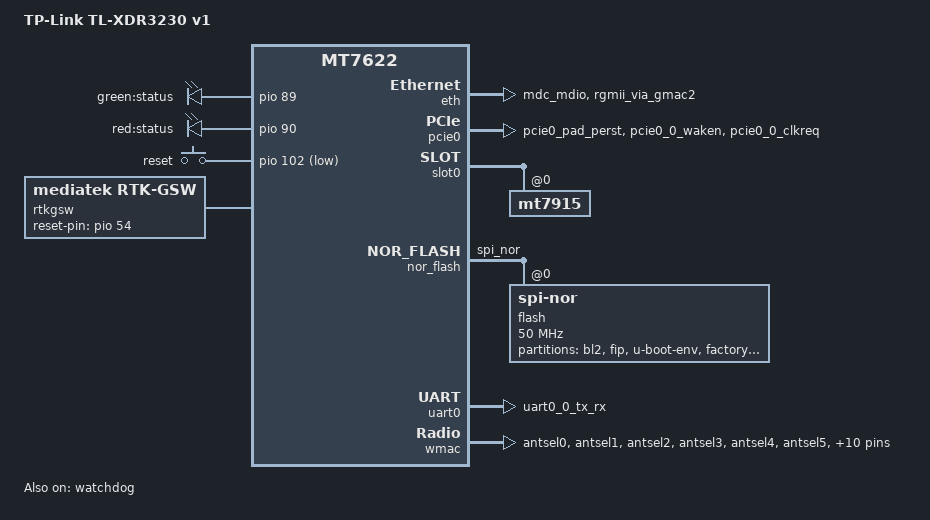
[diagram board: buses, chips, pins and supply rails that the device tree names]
// SPDX-License-Identifier: GPL-2.0-or-later OR MIT

/dts-v1/;
#include <dt-bindings/input/input.h>
#include <dt-bindings/gpio/gpio.h>

#include "mt7622.dtsi"
#include "mt6380.dtsi"

/ {
	model = "TP-Link TL-XDR3230 v1";
	compatible = "tplink,tl-xdr3230-v1", "mediatek,mt7622";

	aliases {
		ethernet0 = &gmac0;
		label-mac-device = &gmac0;
		led-boot = &led_status;
		led-failsafe = &led_status;
		led-running = &led_status;
		led-upgrade = &led_status;
		serial0 = &uart0;
	};

	chosen {
		stdout-path = "serial0:115200n8";
		bootargs = "earlycon=uart8250,mmio32,0x11002000 swiotlb=512";
	};

	cpus {
		cpu@0 {
			proc-supply = <&mt6380_vcpu_reg>;
			sram-supply = <&mt6380_vm_reg>;
		};

		cpu@1 {
			proc-supply = <&mt6380_vcpu_reg>;
			sram-supply = <&mt6380_vm_reg>;
		};
	};

	gpio-leds {
		compatible = "gpio-leds";
		led_status: green_status {
			label = "green:status";
			gpios = <&pio 89 GPIO_ACTIVE_HIGH>;
			default-state = "on";
		};

		red_status {
			label = "red:status";
			gpios = <&pio 90 GPIO_ACTIVE_HIGH>;
		};
	};

	gpio-keys {
		compatible = "gpio-keys";
		#address-cells = <1>;
		#size-cells = <0>;

                /* It seems that reset isn't connected to mt7622 GPIO. Here's the WPS button. */
		reset {
			label = "reset";
			gpios = <&pio 102 GPIO_ACTIVE_LOW>;
			linux,code = <KEY_RESTART>;
		};
	};

	rtkgsw: rtkgsw@0 {
		compatible = "mediatek,rtk-gsw";
		mediatek,ethsys = <&ethsys>;
		mediatek,mdio = <&mdio>;
		mediatek,reset-pin = <&pio 54 0>;
		status = "okay";
	};
};

&eth {
	status = "okay";
	pinctrl-names = "default";
	pinctrl-0 = <&eth_pins>;

	gmac0: mac@0 {
		compatible = "mediatek,eth-mac";
		reg = <0>;
		nvmem-cells = <&macaddr_factory_4>;
		nvmem-cell-names = "mac-address";
		phy-connection-type = "2500base-x";
		fixed-link {
			speed = <2500>;
			full-duplex;
			pause;
		};
	};

	gmac1: mac@1 {
		compatible = "mediatek,eth-mac";
		reg = <1>;
		phy-mode = "rgmii";
		nvmem-cells = <&macaddr_factory_4>;
		nvmem-cell-names = "mac-address";
                mac-address-increment = <1>;
		fixed-link {
			speed = <1000>;
			full-duplex;
			pause;
		};
	};

	mdio: mdio-bus {
		#address-cells = <1>;
		#size-cells = <0>;
	};
};

&pcie0 {
	status = "okay";

	pinctrl-names = "default";
	pinctrl-0 = <&pcie0_pins>;
};

&slot0 {
	mt7915@0,0 {
		reg = <0x0000 0 0 0 0>;
		mediatek,mtd-eeprom = <&factory 0x1000>;
		ieee80211-freq-limit = <5000000 6000000>;
	};
};

&pio {
	epa_elna_pins: epa-elna-pins {
		mux {
			function = "antsel";
			groups = "antsel0", "antsel1", "antsel2", "antsel3",
				"antsel4", "antsel5", "antsel6", "antsel7",
				"antsel8", "antsel9", "antsel12", "antsel13",
				"antsel14", "antsel15", "antsel16", "antsel17";
		};
	};

	eth_pins: eth-pins {
		mux {
			function = "eth";
			groups = "mdc_mdio", "rgmii_via_gmac2";
		};
	};

	pcie0_pins: pcie0-pins {
		mux {
			function = "pcie";
			groups = "pcie0_pad_perst",
				 "pcie0_0_waken",
				 "pcie0_0_clkreq";
		};
	};

	pmic_bus_pins: pmic-bus-pins {
		mux {
			function = "pmic";
			groups = "pmic_bus";
		};
	};

	spi_nor_pins: spi-nor-pins {
		mux {
			function = "flash";
			groups = "spi_nor";
		};
	};

	uart0_pins: uart0-pins {
		mux {
			function = "uart";
			groups = "uart0_0_tx_rx";
		};
	};

	watchdog_pins: watchdog-pins {
		mux {
			function = "watchdog";
			groups = "watchdog";
		};
	};
};

&pwrap {
	status = "okay";

	pinctrl-names = "default";
	pinctrl-0 = <&pmic_bus_pins>;
};

&nor_flash {
	status = "okay";

	pinctrl-names = "default";
	pinctrl-0 = <&spi_nor_pins>;

	flash@0 {
		compatible = "jedec,spi-nor";
		reg = <0>;
		spi-max-frequency = <50000000>;

		partitions {
			compatible = "fixed-partitions";
			#address-cells = <1>;
			#size-cells = <1>;

                	partition@0 {
                		label = "bl2";
                		reg = <0x0 0x20000>;
                	};

                	partition@20000 {
                		label = "fip";
                		reg = <0x20000 0xa0000>;
                	};

                	partition@c0000 {
                		label = "u-boot-env";
                		reg = <0xc0000 0x10000>;
                	};

                	factory: partition@d0000 {
                		label = "factory";
                		reg = <0xd0000 0x10000>;
                		read-only;
                	};

			partition@e0000 {
				compatible = "denx,fit";
				label = "firmware";
				reg = <0xe0000 0>;
			};
		};
	};
};

&rtc {
	status = "disabled";
};

&uart0 {
	status = "okay";

	pinctrl-names = "default";
	pinctrl-0 = <&uart0_pins>;
};

&watchdog {
	status = "okay";

	pinctrl-names = "default";
	pinctrl-0 = <&watchdog_pins>;
};

&wmac {
	status = "okay";

	pinctrl-names = "default";
	pinctrl-0 = <&epa_elna_pins>;
	mediatek,mtd-eeprom = <&factory 0x0>;
};

&factory {
	compatible = "nvmem-cells";
	#address-cells = <1>;
	#size-cells = <1>;

	macaddr_factory_4: macaddr@4 {
		reg = <0x4 0x6>;
	};
};
